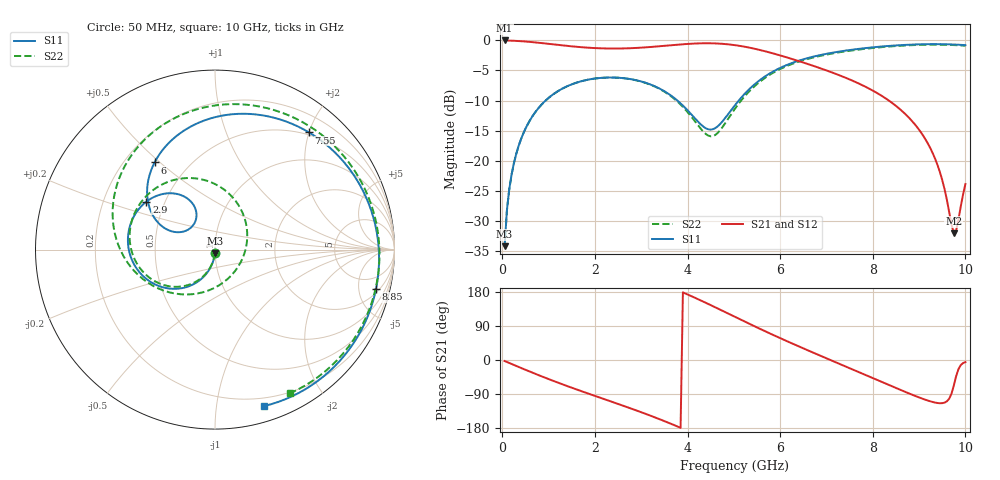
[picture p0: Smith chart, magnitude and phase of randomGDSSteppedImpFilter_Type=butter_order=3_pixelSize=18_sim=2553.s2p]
! freq	dB(S11)	phase(S11)	dB(S12)	phase(S12)
!  dB(S21)	phase(S21)	dB(S22)	phase(S22)
!S-par simulation data
#  GHz  S  DB  R 50
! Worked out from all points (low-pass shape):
!   200 points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, 50 MHz to 10 GHz, reference 50 ohm
!   highest |S21| = -0.01 dB at 50 MHz (marker M1); lowest = -32.0 dB at 9.75 GHz (marker M2)
!   |S21| within 3 dB of the highest: start of sweep to 6.224 GHz
!   lowest |S11| = -34.2 dB at 50 MHz (marker M3), VSWR 1.04, Z = 49.9 - j1.94 ohm
!   |S11| at or under -10 dB: start of sweep to 934.7 MHz; 3.781 GHz to 5.105 GHz (1.324 GHz wide, 29.8 % of centre)
!   |S22| runs from -34.2 to -0.7 dB; largest |S21 - S12| = 0
!   S11 on the Smith chart (normalised r, x): 50 MHz: 1.00, -0.04; 2.9 GHz: 0.40, +0.27; 6 GHz: 0.32, +0.48; 7.55 GHz: 0.46, +2.00; 8.85 GHz: 2.52, -7.50; 10 GHz: 0.13, -1.36
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0.05  -34.21 -92.7  -0.01 -2.7  -0.01 -2.7  -34.21 -92.8
0.1  -28.24 -95.4  -0.01 -5.3  -0.01 -5.3  -28.24 -95.6
0.2  -22.33 -100.6  -0.04 -10.5  -0.04 -10.5  -22.33 -101.2
0.5  -14.68 -115.6  -0.18 -25.9  -0.18 -25.9  -14.69 -117.1
1.1  -8.95 -143.8  -0.66 -55.0  -0.66 -55.0  -8.96 -147.4
1.75  -6.70 -171.3  -1.15 -84.1  -1.15 -84.1  -6.70 -177.9
2.3  -6.17 167.2  -1.35 -107.4  -1.35 -107.4  -6.17 156.9
2.9  -6.63 145.0  -1.25 -133.3  -1.25 -133.3  -6.65 127.7
3.4  -8.02 127.8  -0.97 -156.4  -0.97 -156.4  -8.08 99.5
3.85  -10.47 116.7  -0.67 -179.0  -0.67 -179.0  -10.66 66.6
4.25  -13.69 120.2  -0.49 159.2  -0.49 159.2  -14.34 20.5
4.6  -14.58 143.5  -0.50 139.0  -0.50 139.0  -15.72 -47.3
5.05  -10.52 157.1  -0.81 112.4  -0.81 112.4  -11.08 -117.2
5.5  -6.96 145.7  -1.47 85.9  -1.47 85.9  -7.25 -157.8
6  -4.57 124.7  -2.49 57.7  -2.49 57.7  -4.76 167.6
6.7  -2.73 92.2  -4.19 20.1  -4.19 20.1  -2.87 125.7
7.55  -1.55 51.2  -6.65 -24.3  -6.65 -24.3  -1.66 78.1
8.35  -0.91 11.6  -10.02 -66.1  -10.02 -66.1  -1.01 33.1
8.85  -0.69 -13.7  -13.42 -91.6  -13.42 -91.6  -0.78 4.4
9.4  -0.62 -41.7  -20.76 -113.5  -20.76 -113.5  -0.71 -27.4
9.75  -0.68 -59.7  -32.04 -67.4  -32.04 -67.4  -0.77 -47.8
10  -0.78 -72.5  -23.88 -5.4  -23.88 -5.4  -0.88 -62.5
